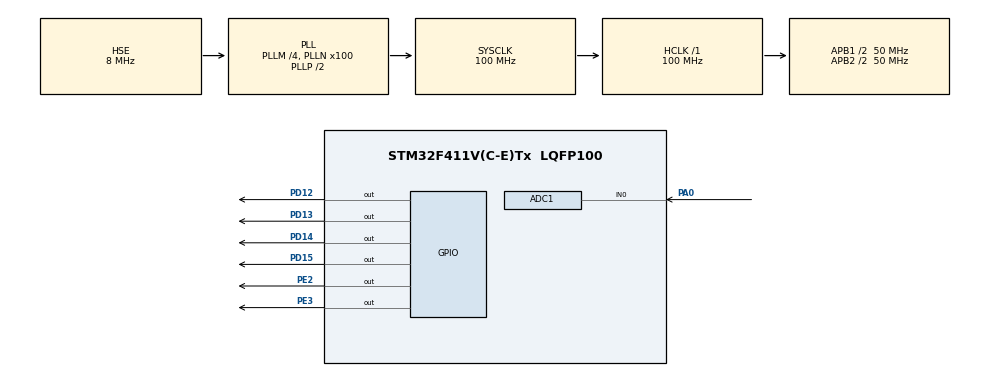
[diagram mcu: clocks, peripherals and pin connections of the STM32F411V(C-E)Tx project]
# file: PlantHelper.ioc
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ADC1.Channel-0\#ChannelRegularConversion=ADC_CHANNEL_0
ADC1.NbrOfConversionFlag=1
ADC1.Rank-0\#ChannelRegularConversion=1
ADC1.SamplingTime-0\#ChannelRegularConversion=ADC_SAMPLETIME_3CYCLES
ADC1.master=1
Mcu.Family=STM32F4
Mcu.Name=STM32F411V(C-E)Tx
Mcu.Package=LQFP100
NVIC.PriorityGroup=NVIC_PRIORITYGROUP_4
NVIC.TIM3_IRQn=true\:0\:0\:false\:false\:true\:true\:true
NVIC.TIM4_IRQn=true\:0\:0\:false\:false\:true\:true\:true
PA0-WKUP.Signal=ADCx_IN0
PD12.Signal=GPIO_Output
PD13.Signal=GPIO_Output
PD14.Signal=GPIO_Output
PD15.Signal=GPIO_Output
PE2.Signal=GPIO_Output
PE3.Signal=GPIO_Output
PH0\ -\ OSC_IN.Mode=HSE-External-Oscillator
PH0\ -\ OSC_IN.Signal=RCC_OSC_IN
PH1\ -\ OSC_OUT.Mode=HSE-External-Oscillator
PH1\ -\ OSC_OUT.Signal=RCC_OSC_OUT
ProjectManager.HeapSize=0x200
ProjectManager.StackSize=0x400
ProjectManager.TargetToolchain=STM32CubeIDE
RCC.48MHZClocksFreq_Value=50000000
RCC.AHBFreq_Value=100000000
RCC.APB1CLKDivider=RCC_HCLK_DIV2
RCC.APB1Freq_Value=50000000
RCC.APB1TimFreq_Value=100000000
RCC.APB2CLKDivider=RCC_HCLK_DIV2
RCC.APB2Freq_Value=50000000
RCC.APB2TimFreq_Value=100000000
RCC.CortexFreq_Value=100000000
RCC.HCLKFreq_Value=100000000
RCC.HSE_VALUE=8000000
RCC.HSI_VALUE=16000000
RCC.LSE_VALUE=32768
RCC.PLLM=4
RCC.PLLN=100
RCC.PLLSourceVirtual=RCC_PLLSOURCE_HSE
RCC.SYSCLKFreq_VALUE=100000000
RCC.SYSCLKSource=RCC_SYSCLKSOURCE_PLLCLK
RCC.VCOOutputFreq_Value=200000000
SH.ADCx_IN0.0=ADC1_IN0,IN0
TIM3.Period=0xffff-1
TIM3.Prescaler=50-1
TIM4.Period=10000-1
TIM4.Prescaler=15000-1
VP_TIM3_VS_ClockSourceINT.Mode=Internal
VP_TIM4_VS_ClockSourceINT.Mode=Internal
board=custom

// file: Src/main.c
/* USER CODE BEGIN Header */
/**
  ******************************************************************************
  * @file           : main.c
  * @brief          : Main program body
  ******************************************************************************
  * @attention
  *
  * <h2><center>&copy; Copyright (c) 2021 STMicroelectronics.
  * All rights reserved.</center></h2>
  *
  * This software component is licensed by ST under BSD 3-Clause license,
  * the "License"; You may not use this file except in compliance with the
  * License. You may obtain a copy of the License at:
  *                        opensource.org/licenses/BSD-3-Clause
  *
  ******************************************************************************
  */
/* USER CODE END Header */

#include "main.h"

/* USER CODE BEGIN Includes */
#include "DHT.h"
/* USER CODE END Includes */

ADC_HandleTypeDef hadc1;

TIM_HandleTypeDef htim3;
TIM_HandleTypeDef htim4;

void SystemClock_Config(void);
static void MX_GPIO_Init(void);
static void MX_TIM4_Init(void);
static void MX_TIM3_Init(void);
static void MX_ADC1_Init(void);
/* USER CODE BEGIN PFP */
volatile int currentTime = 0;
float Temperature = 0;
float Humidity = 0;
float Brightness = 0;

void HAL_TIM_PeriodElapsedCallback(TIM_HandleTypeDef *htim){
   	if(htim->Instance == TIM4)
   	{
   	 HAL_GPIO_WritePin(GPIOE, GPIO_PIN_2, 1);
   		//obecny czas pracy
		currentTime+=1;
		// pobieranie danych o temp, wilgotnosci i swietle z czujników
		takeBrightness();
		takeTemperatureHumidity();
		//wyslij dane do strony z wykresem
		sendData();
		//jesli dane z czujnikow sa za niska, to robimy jakis alarm
		int condition = checkPlant();
		alarm(condition);
     }
}

DHT_DataTypedef DHT11_Data;
uint8_t Rh_byte1, Rh_byte2, Temp_byte1, Temp_byte2;
uint16_t SUM, RH, TEMP;
void takeTemperatureHumidity()
{
	// zwraca pomiar z DH11
	DHT_GetData(&DHT11_Data);
	Temperature = DHT11_Data.Temperature;
	Humidity = DHT11_Data.Humidity;
}
uint16_t value;
void takeBrightness()
{
	// zwraca pomiar z fotorezystora
	HAL_ADC_Start(&hadc1);
	if(HAL_ADC_PollForConversion(&hadc1, 10) == HAL_OK)
	{
	  value = HAL_ADC_GetValue(&hadc1);
	}
	Brightness=value * 3.3f / 4096.0f;
}
int checkPlant()
{
	// sprawdzamy, czy sa dobre warunki
	// moze zapala odpowiednie diody, zaleznie od stanu rosliny
	int code=0;//0=ok,1=medium,2=bad, 3=danger

	//czy jasnosc za niska
	if (Brightness<1)
	{
		if(code<2)
			code+=1;
	}
	//czy temperatura za niska lub za wysoka
	if (Temperature<15 ||Temperature>30)
	{
		if(code<2)
			code+=1;
		if(Temperature<10|| Temperature>35)
		{
			if(code<3)
				code+=1;
		}
	}
	//czy wilgotnosc za niska lub za wysoka
	if (Humidity<40 ||Humidity>80)
	{
		if(code<2)
			code+=1;
		if(Humidity<30|| Humidity>90)
		{
			if(code<3)
				code+=1;
		}

	}
	return code;
}
void alarm(int code)
{
	//rob alarm, jakies diody, pewnie glosnik
	//12=zielony, 13=pomaranczowy, 14=czerwony
	if (code==0)
	{
		HAL_GPIO_WritePin(GPIOD, GPIO_PIN_12|GPIO_PIN_13|GPIO_PIN_14|GPIO_PIN_15,0);
		HAL_GPIO_WritePin(GPIOD, GPIO_PIN_12,1);
	}
	if (code==1)
	{
		HAL_GPIO_WritePin(GPIOD, GPIO_PIN_12|GPIO_PIN_13|GPIO_PIN_14|GPIO_PIN_15,0);
		HAL_GPIO_WritePin(GPIOD, GPIO_PIN_13,1);
	}
	if (code==2)
	{
		HAL_GPIO_WritePin(GPIOD, GPIO_PIN_12|GPIO_PIN_13|GPIO_PIN_14|GPIO_PIN_15,0);
		HAL_GPIO_WritePin(GPIOD, GPIO_PIN_14,1);
	}
	if (code==3)
	{
		HAL_GPIO_TogglePin(GPIOD, GPIO_PIN_12|GPIO_PIN_13|GPIO_PIN_14|GPIO_PIN_15);
		//glosnik
	}

}
void sendData()
{
	//wysylanie danych na strone
	int data[4]={currentTime,Temperature,Humidity,Brightness};
}

/* USER CODE END PFP */

int main(void)
{

  /* MCU Configuration--------------------------------------------------------*/

  /* Reset of all peripherals, Initializes the Flash interface and the Systick. */
  HAL_Init();

  /* Configure the system clock */
  SystemClock_Config();

  /* Initialize all configured peripherals */
  MX_GPIO_Init();
  MX_TIM4_Init();
  MX_TIM3_Init();
  MX_ADC1_Init();
  /* USER CODE BEGIN 2 */
  HAL_TIM_Base_Start_IT(&htim4);
  //HAL_TIM_Base_Start_IT(&htim3);
  /* USER CODE END 2 */

  /* Infinite loop */
  /* USER CODE BEGIN WHILE */

  while (1)
  {
	  //HAL_Delay(1000);

    /* USER CODE END WHILE */

  }
}

void SystemClock_Config(void)
{
  RCC_OscInitTypeDef RCC_OscInitStruct = {0};
  RCC_ClkInitTypeDef RCC_ClkInitStruct = {0};

  /** Configure the main internal regulator output voltage
  */
  __HAL_RCC_PWR_CLK_ENABLE();
  __HAL_PWR_VOLTAGESCALING_CONFIG(PWR_REGULATOR_VOLTAGE_SCALE1);
  /** Initializes the CPU, AHB and APB busses clocks
  */
  RCC_OscInitStruct.OscillatorType = RCC_OSCILLATORTYPE_HSE;
  RCC_OscInitStruct.HSEState = RCC_HSE_ON;
  RCC_OscInitStruct.PLL.PLLState = RCC_PLL_ON;
  RCC_OscInitStruct.PLL.PLLSource = RCC_PLLSOURCE_HSE;
  RCC_OscInitStruct.PLL.PLLM = 4;
  RCC_OscInitStruct.PLL.PLLN = 100;
  RCC_OscInitStruct.PLL.PLLP = RCC_PLLP_DIV2;
  RCC_OscInitStruct.PLL.PLLQ = 4;
  if (HAL_RCC_OscConfig(&RCC_OscInitStruct) != HAL_OK)
  {
    Error_Handler();
  }
  /** Initializes the CPU, AHB and APB busses clocks
  */
  RCC_ClkInitStruct.ClockType = RCC_CLOCKTYPE_HCLK|RCC_CLOCKTYPE_SYSCLK
                              |RCC_CLOCKTYPE_PCLK1|RCC_CLOCKTYPE_PCLK2;
  RCC_ClkInitStruct.SYSCLKSource = RCC_SYSCLKSOURCE_PLLCLK;
  RCC_ClkInitStruct.AHBCLKDivider = RCC_SYSCLK_DIV1;
  RCC_ClkInitStruct.APB1CLKDivider = RCC_HCLK_DIV2;
  RCC_ClkInitStruct.APB2CLKDivider = RCC_HCLK_DIV2;

  if (HAL_RCC_ClockConfig(&RCC_ClkInitStruct, FLASH_LATENCY_3) != HAL_OK)
  {
    Error_Handler();
  }
}

static void MX_ADC1_Init(void)
{

  ADC_ChannelConfTypeDef sConfig = {0};

  /** Configure the global features of the ADC (Clock, Resolution, Data Alignment and number of conversion)
  */
  hadc1.Instance = ADC1;
  hadc1.Init.ClockPrescaler = ADC_CLOCK_SYNC_PCLK_DIV2;
  hadc1.Init.Resolution = ADC_RESOLUTION_12B;
  hadc1.Init.ScanConvMode = DISABLE;
  hadc1.Init.ContinuousConvMode = DISABLE;
  hadc1.Init.DiscontinuousConvMode = DISABLE;
  hadc1.Init.ExternalTrigConvEdge = ADC_EXTERNALTRIGCONVEDGE_NONE;
  hadc1.Init.ExternalTrigConv = ADC_SOFTWARE_START;
  hadc1.Init.DataAlign = ADC_DATAALIGN_RIGHT;
  hadc1.Init.NbrOfConversion = 1;
  hadc1.Init.DMAContinuousRequests = DISABLE;
  hadc1.Init.EOCSelection = ADC_EOC_SINGLE_CONV;
  if (HAL_ADC_Init(&hadc1) != HAL_OK)
  {
    Error_Handler();
  }
  /** Configure for the selected ADC regular channel its corresponding rank in the sequencer and its sample time.
  */
  sConfig.Channel = ADC_CHANNEL_0;
  sConfig.Rank = 1;
  sConfig.SamplingTime = ADC_SAMPLETIME_3CYCLES;
  if (HAL_ADC_ConfigChannel(&hadc1, &sConfig) != HAL_OK)
  {
    Error_Handler();
  }

}

static void MX_TIM3_Init(void)
{

  TIM_ClockConfigTypeDef sClockSourceConfig = {0};
  TIM_MasterConfigTypeDef sMasterConfig = {0};

  htim3.Instance = TIM3;
  htim3.Init.Prescaler = 50-1;
  htim3.Init.CounterMode = TIM_COUNTERMODE_UP;
  htim3.Init.Period = 0xffff-1;
  htim3.Init.ClockDivision = TIM_CLOCKDIVISION_DIV1;
  htim3.Init.AutoReloadPreload = TIM_AUTORELOAD_PRELOAD_DISABLE;
  if (HAL_TIM_Base_Init(&htim3) != HAL_OK)
  {
    Error_Handler();
  }
  sClockSourceConfig.ClockSource = TIM_CLOCKSOURCE_INTERNAL;
  if (HAL_TIM_ConfigClockSource(&htim3, &sClockSourceConfig) != HAL_OK)
  {
    Error_Handler();
  }
  sMasterConfig.MasterOutputTrigger = TIM_TRGO_RESET;
  sMasterConfig.MasterSlaveMode = TIM_MASTERSLAVEMODE_DISABLE;
  if (HAL_TIMEx_MasterConfigSynchronization(&htim3, &sMasterConfig) != HAL_OK)
  {
    Error_Handler();
  }

}

static void MX_TIM4_Init(void)
{

  TIM_ClockConfigTypeDef sClockSourceConfig = {0};
  TIM_MasterConfigTypeDef sMasterConfig = {0};

  htim4.Instance = TIM4;
  htim4.Init.Prescaler = 15000-1;
  htim4.Init.CounterMode = TIM_COUNTERMODE_UP;
  htim4.Init.Period = 10000-1;
  htim4.Init.ClockDivision = TIM_CLOCKDIVISION_DIV1;
  htim4.Init.AutoReloadPreload = TIM_AUTORELOAD_PRELOAD_DISABLE;
  if (HAL_TIM_Base_Init(&htim4) != HAL_OK)
  {
    Error_Handler();
  }
  sClockSourceConfig.ClockSource = TIM_CLOCKSOURCE_INTERNAL;
  if (HAL_TIM_ConfigClockSource(&htim4, &sClockSourceConfig) != HAL_OK)
  {
    Error_Handler();
  }
  sMasterConfig.MasterOutputTrigger = TIM_TRGO_RESET;
  sMasterConfig.MasterSlaveMode = TIM_MASTERSLAVEMODE_DISABLE;
  if (HAL_TIMEx_MasterConfigSynchronization(&htim4, &sMasterConfig) != HAL_OK)
  {
    Error_Handler();
  }

}

static void MX_GPIO_Init(void)
{
  GPIO_InitTypeDef GPIO_InitStruct = {0};

  /* GPIO Ports Clock Enable */
  __HAL_RCC_GPIOE_CLK_ENABLE();
  __HAL_RCC_GPIOH_CLK_ENABLE();
  __HAL_RCC_GPIOA_CLK_ENABLE();
  __HAL_RCC_GPIOD_CLK_ENABLE();

  /*Configure GPIO pin Output Level */
  HAL_GPIO_WritePin(GPIOE, GPIO_PIN_2|GPIO_PIN_3, GPIO_PIN_RESET);

  /*Configure GPIO pin Output Level */
  HAL_GPIO_WritePin(GPIOD, GPIO_PIN_12|GPIO_PIN_13|GPIO_PIN_14|GPIO_PIN_15, GPIO_PIN_RESET);

  /*Configure GPIO pins : PE2 PE3 */
  GPIO_InitStruct.Pin = GPIO_PIN_2|GPIO_PIN_3;
  GPIO_InitStruct.Mode = GPIO_MODE_OUTPUT_PP;
  GPIO_InitStruct.Pull = GPIO_NOPULL;
  GPIO_InitStruct.Speed = GPIO_SPEED_FREQ_LOW;
  HAL_GPIO_Init(GPIOE, &GPIO_InitStruct);

  /*Configure GPIO pins : PD12 PD13 PD14 PD15 */
  GPIO_InitStruct.Pin = GPIO_PIN_12|GPIO_PIN_13|GPIO_PIN_14|GPIO_PIN_15;
  GPIO_InitStruct.Mode = GPIO_MODE_OUTPUT_PP;
  GPIO_InitStruct.Pull = GPIO_NOPULL;
  GPIO_InitStruct.Speed = GPIO_SPEED_FREQ_LOW;
  HAL_GPIO_Init(GPIOD, &GPIO_InitStruct);

}

void Error_Handler(void)
{
}

/************************ (C) COPYRIGHT STMicroelectronics *****END OF FILE****/
